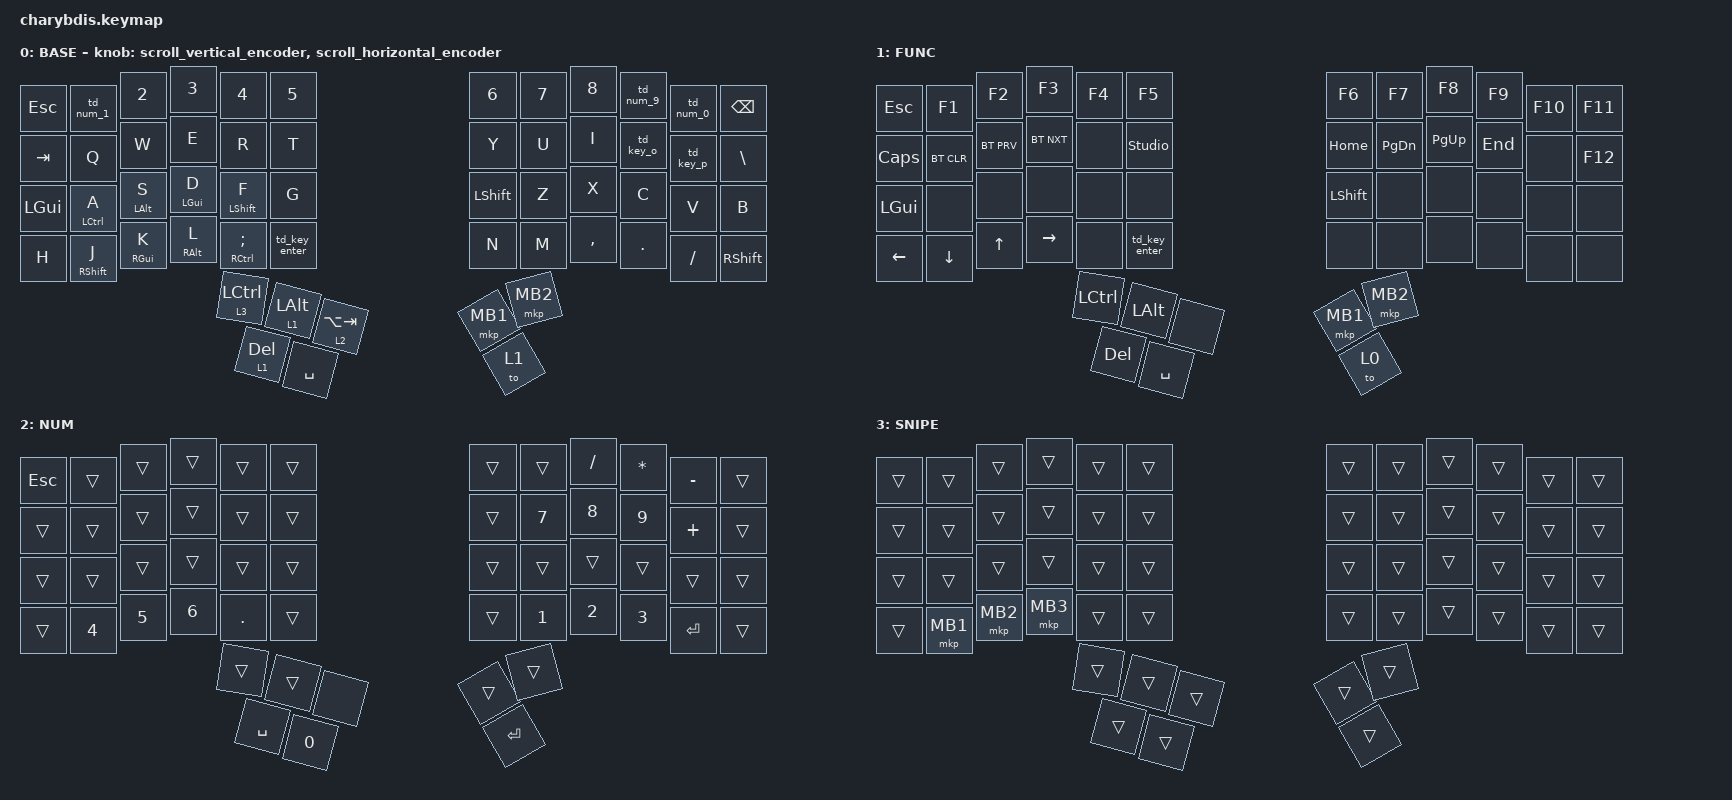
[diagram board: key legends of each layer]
#include <dt-bindings/zmk/mouse.h>
#include <input/processors.dtsi>
#include <zephyr/dt-bindings/input/input-event-codes.h>
#include <behaviors.dtsi>
#include <dt-bindings/zmk/bt.h>
#include <dt-bindings/zmk/keys.h>
#include <dt-bindings/zmk/pointing.h>

// 기본 이동 속도 (기본값: 600)
// 듀얼 모니터: 화면 전체를 빠르게 이동하려면 높게 설정

#define ZMK_POINTING_DEFAULT_MOVE_VAL 1000

// 스크롤 속도 (기본값: 10)

#define ZMK_POINTING_DEFAULT_SCRL_VAL 12

&lt {
    tapping-term-ms = <200>;
    flavor = "balanced";
    quick-tap-ms = <150>;
};

&mmv_input_listener { input-processors = <&zip_xy_scaler 2 1>; };

&msc_input_listener { input-processors = <&zip_scroll_scaler 2 1>; };

// ========================================
// 마우스 이동 가속도 설정
// ========================================

&mmv {
    // 가속도 지수 (기본: 1)
    // 0 = 일정 속도, 1 = 선형, 2 = 제곱 가속
    // 듀얼 모니터: 1~2 권장 (빠른 이동 + 정밀 제어)

    acceleration-exponent = <1>;

    // 최대 속도 도달 시간 (기본: 300ms)
    // 짧을수록 빨리 가속됨
    // 듀얼 모니터: 200~400ms 권장

    time-to-max-speed-ms = <300>;

    // 초기 지연 (기본: 0ms)

    delay-ms = <0>;
    trigger-period-ms = <12>;
};

// ========================================
// 스크롤 설정
// ========================================

&msc {
    // 스크롤은 가속 없이 일정하게

    acceleration-exponent = <0>;
    time-to-max-speed-ms = <300>;
    delay-ms = <0>;
};

/ {
    // 세로 스크롤 인코더

    scroll_vertical_encoder: scroll_vertical_encoder {
        compatible = "zmk,behavior-sensor-rotate";
        #sensor-binding-cells = <0>;
        bindings = <&msc SCRL_UP>, <&msc SCRL_DOWN>;

        tap-ms = <100>;
    };

    // 가로 스크롤 인코더

    scroll_horizontal_encoder: scroll_horizontal_encoder {
        compatible = "zmk,behavior-sensor-rotate";
        #sensor-binding-cells = <0>;
        bindings = <&msc SCRL_LEFT>, <&msc SCRL_RIGHT>;

        tap-ms = <100>;
    };

    behaviors {
        // === 기본 홈로우 모드 (중지, 약지용) ===
        /*
            monkeytype.com에서 테스트:
            - 60 WPM 미만: tapping-term-ms = 250
            - 60-80 WPM: tapping-term-ms = 280
            - 80-100 WPM: tapping-term-ms = 300
            - 100+ WPM: tapping-term-ms = 320
        */

        hm: homerow_modes {
            compatible = "zmk,behavior-hold-tap";
            label = "HOMEROW_MODES";
            bindings = <&kp>, <&kp>;

            #binding-cells = <2>;
            tapping-term-ms = <280>; // 홀드/탭 판정 시간
            quick-tap-ms = <250>; // 같은 키 연타 시 탭으로 인식하는 최대 시간,  빠른 타이핑 보호
            require-prior-idle-ms = <200>; // 이전 입력 후 유휴 시간이 이보다 길어야 탭 인정, 빠른 타이핑 보호
            /* balanced flavor를 사용해야 hold-trigger-on-release가 제대로 작동함 */

            flavor = "balanced"; // 다른 키 누르기 전까지 탭
            retro-tap; // 혼자 길게 눌렀다 떼면 탭
            hold-while-undecided; // 키를 뗄 때 홀드 판정
        };

        // === 검지, 새끼 손가락용 (조금 더 관대) ===

        hm_outer: homerow_outer {
            compatible = "zmk,behavior-hold-tap";
            label = "HOMEROW_OUTER";
            bindings = <&kp>, <&kp>;

            #binding-cells = <2>;
            tapping-term-ms = <250>;
            quick-tap-ms = <230>;
            require-prior-idle-ms = <180>;
            flavor = "balanced"; // 다른 키 누르기 전까지 탭
            retro-tap; // 혼자 길게 눌렀다 떼면 탭
            hold-while-undecided; // 키를 뗄 때 홀드 판정
        };

        // === 왼손 홈로우 전용(반대편만 트리거) ===

        hm_left: homerow_left {
            compatible = "zmk,behavior-hold-tap";
            label = "HOMEROW_LEFT";
            bindings = <&kp>, <&kp>;

            #binding-cells = <2>;
            flavor = "balanced";
            tapping-term-ms = <280>;
            quick-tap-ms = <175>;
            require-prior-idle-ms = <150>;
            retro-tap; // 키를 혼자 길게 누르고 뗐을 때 탭으로 인식
            //hold-while-undecided; // 판정이 안 끝났을 때도 홀드 키를 누른 상태로 유지
            // 오른손 키 위치만 지정 (왼손 홈로우용)

            hold-trigger-key-positions = <
                6 7 8 9 10 11          // 오른손 숫자행
                18 19 20 21 22 23      // 오른손 상단행
                30 31 32 33 34 35      // 오른손 중간행
                42 43 44 45 46 47      // 오른손 하단행
                51 52 53 54 55         // 엄지
            >;

            hold-trigger-on-release;
        };

        // === 오른손 홈로우 전용(반대편만 트리거) ===

        hm_right: homerow_right {
            compatible = "zmk,behavior-hold-tap";
            label = "HOMEROW_RIGHT";
            bindings = <&kp>, <&kp>;

            #binding-cells = <2>;
            flavor = "balanced";
            tapping-term-ms = <280>;
            quick-tap-ms = <175>;
            require-prior-idle-ms = <150>;
            retro-tap; // 키를 혼자 길게 누르고 뗐을 때 탭으로 인식
            //hold-while-undecided; // 판정이 안 끝났을 때도 홀드 키를 누른 상태로 유지
            // 왼손 키 위치만 지정 (오른손 홈로우용)

            hold-trigger-key-positions = <
                0 1 2 3 4 5            // 왼손 숫자행
                12 13 14 15 16 17      // 왼손 상단행
                24 25 26 27 28 29      // 왼손 중간행
                36 37 38 39 40 41      // 왼손 하단행
                48 49 50               // 엄지
            >;

            hold-trigger-on-release;
        };

        // === Vim 방향키용 특수 설정 (J, K, L) ===

        hm_vim: homerow_vim {
            compatible = "zmk,behavior-hold-tap";
            label = "HOMEROW_VIM";
            bindings = <&kp>, <&kp>;

            #binding-cells = <2>;
            flavor = "balanced";

            // Vim 방향키 전용 설정

            tapping-term-ms = <280>;
            quick-tap-ms = <280>;                // 0으로! 연타 시 계속 반복
            require-prior-idle-ms = <150>;
            retro-tap;                         // 길게 누르면 반복 입력
            hold-trigger-key-positions = <
                0 1 2 3 4 5            // 왼손 숫자행
                12 13 14 15 16 17      // 왼손 상단행
                24 25 26 27 28 29      // 왼손 중간행
                36 37 38 39 40 41      // 왼손 하단행
                48 49 50               // 엄지
            >;

            hold-trigger-on-release;
        };

        //한영전환

        td_cmd: cmd_to_caps_ime {
            compatible = "zmk,behavior-tap-dance";
            label = "CMD_TO_CAPS";
            #binding-cells = <0>;
            tapping-term-ms = <230>;
            bindings = <&kp LGUI>, <&kp CAPS>;

            // 1회: CMD, 2회: Caps Lock
        };

        td_num_9: td_num_9 {
            compatible = "zmk,behavior-tap-dance";
            label = "TD_NUM_9";
            #binding-cells = <0>;
            tapping-term-ms = <200>;
            bindings = <&kp N9>, <&kp MINUS>;
        };

        td_num_0: td_num_0 {
            compatible = "zmk,behavior-tap-dance";
            label = "TD_NUM_0";
            #binding-cells = <0>;
            tapping-term-ms = <200>;
            bindings = <&kp N0>, <&kp EQUAL>;
        };

        td_num_1: td_num_1 {
            compatible = "zmk,behavior-tap-dance";
            label = "TD_NUM_1";
            #binding-cells = <0>;
            tapping-term-ms = <230>;
            bindings = <&kp N1>, <&kp GRAVE>;
        };

        td_key_o: td_key_o {
            compatible = "zmk,behavior-tap-dance";
            label = "TD_KEY_O";
            #binding-cells = <0>;
            tapping-term-ms = <200>;
            bindings = <&kp O>, <&kp LBKT>;
        };

        td_key_p: td_key_p {
            compatible = "zmk,behavior-tap-dance";
            label = "TD_KEY_P";
            #binding-cells = <0>;
            tapping-term-ms = <200>;
            bindings = <&kp P>, <&kp RBKT>;
        };

        td_key_enter: td_key_enter {
            compatible = "zmk,behavior-tap-dance";
            label = "TD_KEY_ENTER";
            #binding-cells = <0>;
            tapping-term-ms = <230>;
            bindings = <&kp ENTER>, <&kp SQT>;
        };

        th_mkp_mo: th_mkp_mo {
            compatible = "zmk,behavior-hold-tap";
            label = "TH_MKP_MO";
            bindings = <&mo>, <&mkp>;

            #binding-cells = <2>;
            tapping-term-ms = <300>;
        };
    };

    keymap {
        compatible = "zmk,keymap";

        BASE {
            bindings = <
&kp ESC    &td_num_1         &kp N2           &kp N3           &kp N4             &kp N5           &kp N6        &kp N7            &kp N8          &td_num_9       &td_num_0                  &kp BACKSPACE
&kp TAB    &kp Q             &kp W            &kp E            &kp R              &kp T            &kp Y         &kp U             &kp I           &td_key_o       &td_key_p                  &kp BSLH
&kp LGUI   &hm_left LCTRL A  &hm_left LALT S  &hm_left LGUI D  &hm_left LSHIFT F  &kp G            &kp H         &hm_vim RSHIFT J  &hm_vim RGUI K  &hm_vim RALT L  &hm_right RCTRL SEMICOLON  &td_key_enter
&kp LSHFT  &kp Z             &kp X            &kp C            &kp V              &kp B            &kp N         &kp M             &kp COMMA       &kp DOT         &kp SLASH                  &kp RSHFT
                                              &lt 3 LCTRL      &lt 1 LALT         &lt 2 LA(TAB)    &lt 1 DELETE  &kp SPACE
                                                               &mkp MB1           &mkp MB2         &to 1
            >;

            sensor-bindings =
                // 인코더1: 위아래 스크롤,,,,,,,,,,,,
                <&scroll_vertical_encoder>,
                // 인코더2: 좌우 스크롤,,,,,,,,,,,,
                <&scroll_horizontal_encoder>;
        };

        FUNC {
            bindings = <
&kp ESCAPE      &kp F1      &kp F2      &kp F3      &kp F4        &kp F5            &kp F6          &kp F7          &kp F8        &kp F9     &kp F10  &kp F11
&kp CAPS        &bt BT_CLR  &bt BT_PRV  &bt BT_NXT  &none         &studio_unlock    &kp HOME        &kp PAGE_DOWN   &kp PAGE_UP   &kp END    &none    &kp F12
&kp LGUI        &none       &none       &none       &none         &none             &kp LEFT_ARROW  &kp DOWN_ARROW  &kp UP_ARROW  &kp RIGHT  &none    &td_key_enter
&kp LEFT_SHIFT  &none       &none       &none       &none         &none             &none           &none           &none         &none      &none    &none
                                        &kp LCTRL   &kp LEFT_ALT  &none             &kp DELETE      &kp SPACE
                                                    &mkp MB1      &mkp MB2          &to 0
            >;
        };

        NUM {
            bindings = <
&kp ESCAPE  &trans  &trans  &trans  &trans  &trans    &trans     &trans        &kp SLASH     &kp ASTERISK  &kp MINUS   &trans
&trans      &trans  &trans  &trans  &trans  &trans    &trans     &kp NUMBER_7  &kp NUMBER_8  &kp NUMBER_9  &kp PLUS    &trans
&trans      &trans  &trans  &trans  &trans  &trans    &trans     &kp NUMBER_4  &kp NUMBER_5  &kp NUMBER_6  &kp PERIOD  &trans
&trans      &trans  &trans  &trans  &trans  &trans    &trans     &kp NUMBER_1  &kp NUMBER_2  &kp NUMBER_3  &kp ENTER   &trans
                            &trans  &trans  &none     &kp SPACE  &kp NUMBER_0
                                    &trans  &trans    &kp ENTER
            >;
        };

        SNIPE {
            bindings = <
&trans  &trans  &trans  &trans  &trans  &trans    &trans  &trans    &trans    &trans    &trans  &trans
&trans  &trans  &trans  &trans  &trans  &trans    &trans  &trans    &trans    &trans    &trans  &trans
&trans  &trans  &trans  &trans  &trans  &trans    &trans  &mkp MB1  &mkp MB2  &mkp MB3  &trans  &trans
&trans  &trans  &trans  &trans  &trans  &trans    &trans  &trans    &trans    &trans    &trans  &trans
                        &trans  &trans  &trans    &trans  &trans
                                &trans  &trans    &trans
            >;
        };

        /* layer_2 {
            bindings = <
&none  &none   &none    &none   &none         &none         &kp N1         &none         &none     &none  &none   &to 0
&none  &none   &none    &none   &none         &none         &none         &none          &rgb_ug RGB_BRD &rgb_ug RGB_BRI  &rgb_ug RGB_EFF   &rgb_ug RGB_TOG
&none  &none   &none    &none   &none         &none         &none         &mkp LCLK     &mkp RCLK  &none  &none   &none
&none  &none   &none    &none   &bt BT_NXT  &bt BT_CLR    &none         &none         &none     &none  &none   &none
                                   &none         &none         &none         &none         &none
                                                 &none         &none         &none
            >;
       
            
        };

       Mouse {
            bindings = <
&none        &none         &none         &none         &none      &none         &none       &none      &none         &none         &none         &none
&none        &bt BT_SEL 0  &bt BT_SEL 1  &bt BT_SEL 3  &none      &bt BT_CLR    &bt BT_CLR  &none      &bt BT_SEL 2  &bt BT_SEL 1  &bt BT_SEL 0  &none
&none        &trans        &trans        &mkp MCLK     &trans     &none         &none       &trans     &mkp MCLK     &trans        &trans        &none
&bootloader  &trans        &mkp RCLK     &mo 4         &mkp LCLK  &mo 5         &mo 5       &mkp LCLK  &mo 4         &mkp RCLK     &trans        &bootloader
                                         &mo 5         &mkp LCLK  &mkp RCLK     &mkp RCLK   &mkp LCLK
                                                       &none      &trans        &trans
            >;

            
        };

        layer_4 {
            bindings = <
&trans  &trans  &trans     &trans     &trans     &trans       &trans     &trans     &trans     &trans     &trans  &trans
&trans  &trans  &trans     &trans     &trans     &trans       &trans     &trans     &trans     &trans     &trans  &trans
&trans  &trans  &trans     &mkp MCLK  &trans     &trans       &trans     &trans     &mkp MCLK  &trans     &trans  &trans
&trans  &trans  &mkp RCLK  &trans     &mkp LCLK  &trans       &trans     &mkp LCLK  &trans     &mkp RCLK  &trans  &trans
                           &trans     &mkp LCLK  &mkp RCLK    &mkp RCLK  &mkp LCLK
                                      &trans     &trans       &trans
            >;
                
                
               
        };

        layer_5 {
            bindings = <
&trans  &trans  &trans     &trans     &trans     &trans       &trans     &trans     &trans     &trans     &trans  &trans
&trans  &trans  &trans     &trans     &trans     &trans       &trans     &trans     &trans     &trans     &trans  &trans
&trans  &trans  &trans     &mkp MCLK  &trans     &trans       &trans     &trans     &mkp MCLK  &trans     &trans  &trans
&trans  &trans  &mkp RCLK  &trans     &mkp LCLK  &trans       &trans     &mkp LCLK  &trans     &mkp RCLK  &trans  &trans
                           &trans     &mkp LCLK  &mkp RCLK    &mkp RCLK  &mkp LCLK
                                      &trans     &trans       &trans
            >;
                
                
        };*/
    };

    conditional_layers { compatible = "zmk,conditional-layers"; };
};
